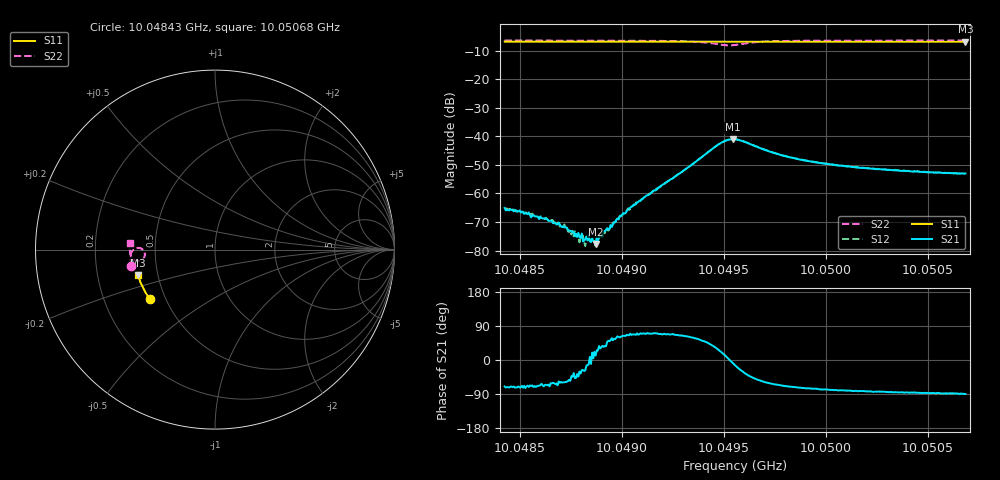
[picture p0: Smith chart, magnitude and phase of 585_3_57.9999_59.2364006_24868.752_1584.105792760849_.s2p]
#  HZ  S  RI  R  50.00
! Rohde & Schwarz Vector Network Analyzer
! Rohde-Schwarz,ZNB20-2Port,1311601062101988,3.16
! Created: UTC 3/21/2024, 1:16:35 AM
! freq[Hz]  re:S11  im:S11  re:S21  im:S21  re:S12  im:S12  re:S22  im:S22
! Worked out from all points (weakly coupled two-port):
!   401 points, 10.04843 GHz to 10.05068 GHz, reference 50 ohm
!   highest |S21| = -41.01 dB at 10.04954 GHz (marker M1); lowest = -77.7 dB at 10.04887 GHz (marker M2)
!   lowest |S11| = -6.9 dB at 10.05068 GHz (marker M3), VSWR 2.65, Z = 19.3 - j6.98 ohm
!   |S11| at or under -10 dB: nowhere
!   |S22| runs from -8.1 to -6.4 dB; largest |S21 - S12| = 0.00065
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1.0048426e10  -0.3633 -0.2759  0.00019 -0.000523  0.000201 -0.000523  -0.4684 -0.0907
1.0048505e10  -0.3663 -0.2716  0.000143 -0.000441  0.000195 -0.000429  -0.4692 -0.085
1.0048658e10  -0.372 -0.2634  0.000156 -0.00029  0.000185 -0.000291  -0.4706 -0.0735
1.0048725e10  -0.3745 -0.2595  0.000136 -0.000217  0.000137 -0.000189  -0.471 -0.0682
1.0048804e10  -0.3772 -0.2551  0.000177 -8.96e-05  0.000147 -8.39e-05  -0.4715 -0.062
1.0048821e10  -0.3779 -0.2542  0.00014 -7.17e-05  0.000112 -4.01e-05  -0.4717 -0.0607
1.0048827e10  -0.378 -0.2539  0.000169 -4.84e-05  0.000152 -2.05e-05  -0.4716 -0.0601
1.0048838e10  -0.3784 -0.2533  0.000183 -3.85e-05  0.000156 8.41e-06  -0.4716 -0.0593
1.0048872e10  -0.3797 -0.2514  0.000127 2.67e-05  0.000114 3.91e-05  -0.4717 -0.0565
1.0048991e10  -0.3837 -0.2446  0.000201 0.000343  0.00016 0.000371  -0.4716 -0.0458
1.0049036e10  -0.3852 -0.2421  0.00023 0.000498  0.000169 0.000486  -0.4713 -0.0417
1.0049183e10  -0.39 -0.2338  0.000473 0.00119  0.00037 0.00121  -0.4689 -0.0256
1.0049363e10  -0.3956 -0.223  0.00196 0.00302  0.0018 0.00313  -0.4519 0.00147
1.0049476e10  -0.3986 -0.2163  0.00654 0.00323  0.0063 0.00364  -0.4082 0.00431
1.0049516e10  -0.3994 -0.2143  0.00848 0.00107  0.00843 0.00161  -0.3923 -0.0166
1.0049544e10  -0.4001 -0.2128  0.00882 -0.00123  0.00889 -0.000664  -0.3922 -0.0372
1.0049555e10  -0.4005 -0.2123  0.00859 -0.00212  0.00876 -0.00157  -0.3953 -0.0447
1.0049629e10  -0.4028 -0.2084  0.00536 -0.00501  0.00575 -0.00469  -0.4306 -0.0637
1.0049787e10  -0.4078 -0.1989  0.00173 -0.00427  0.00205 -0.00422  -0.4648 -0.0415
1.0049934e10  -0.4117 -0.1901  0.000894 -0.00346  0.00111 -0.00345  -0.472 -0.0227
1.0050312e10  -0.421 -0.167  0.000221 -0.00258  0.000403 -0.00257  -0.4752 0.0117
1.0050685e10  -0.4288 -0.1439  7.02e-06 -0.00223  0.000146 -0.00221  -0.4741 0.0394
